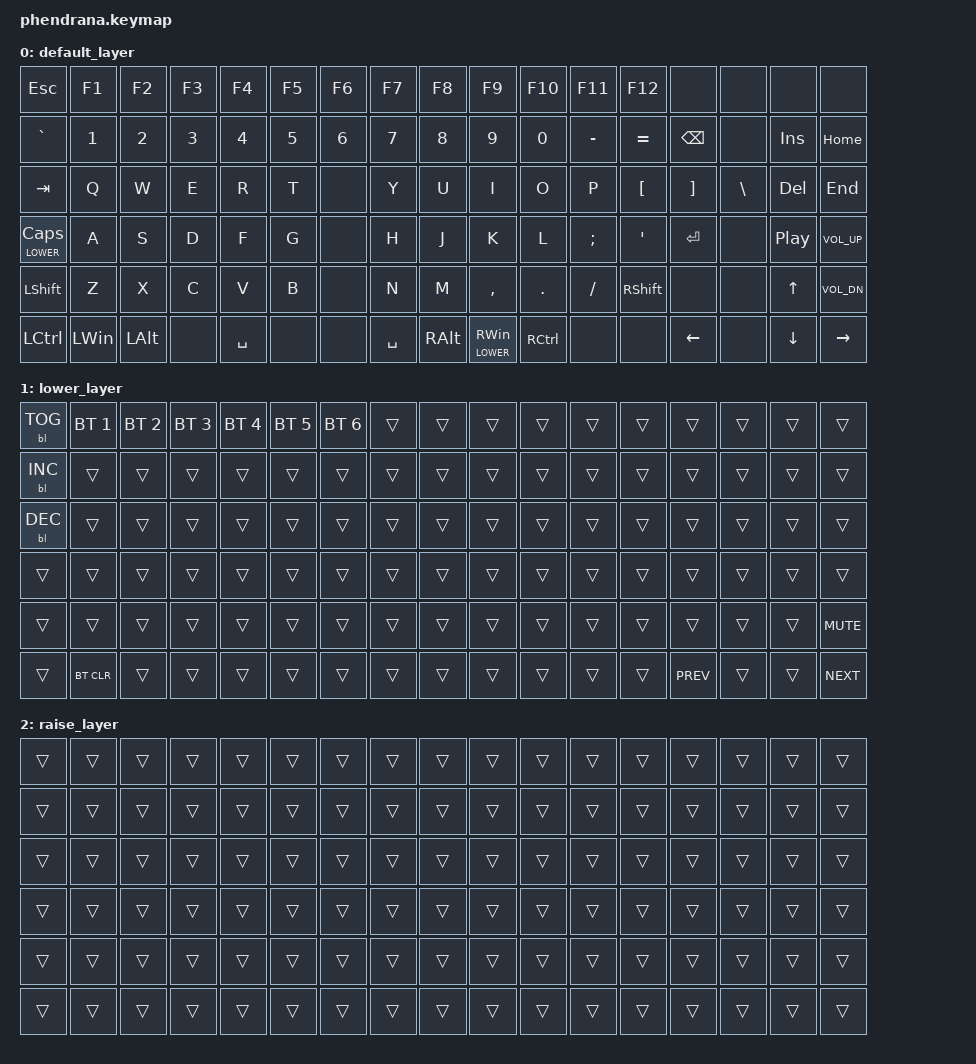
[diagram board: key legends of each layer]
#include <behaviors.dtsi>
#include <dt-bindings/zmk/keys.h>
#include <dt-bindings/zmk/bt.h>
#include <dt-bindings/zmk/outputs.h>
#include <dt-bindings/zmk/backlight.h>

#define DEFAULT 0
#define LOWER 1
#define RAISE 2

/ {
    combos{
        compatible = "zmk,combos";
        combo_reset {
            timeout-ms = <50>;
            key-positions = <0 51  85>;
            bindings = <&reset>;
        };
        combo_bootl {
            timeout-ms = <50>;
            key-positions = <0 52 85>;
            bindings = <&bootloader>;
        };
    };
    keymap {
        compatible = "zmk,keymap";

        default_layer {
            bindings = <
                &kp ESC        &kp F1       &kp F2       &kp F3       &kp F4       &kp F5       &kp F6           &kp F7       &kp F8       &kp F9         &kp F10      &kp F11      &kp F12      &none        &none        &none        &none
                &kp GRAVE      &kp N1       &kp N2       &kp N3       &kp N4       &kp N5       &kp N6           &kp N7       &kp N8       &kp N9         &kp N0       &kp MINUS    &kp EQUAL    &kp BSPC     &none        &kp INS      &kp HOME
                &kp TAB        &kp Q        &kp W        &kp E        &kp R        &kp T        &none            &kp Y        &kp U        &kp I          &kp O        &kp P        &kp LBKT     &kp RBKT     &kp BSLH     &kp DEL      &kp END    
                &lt LOWER CAPS &kp A        &kp S        &kp D        &kp F        &kp G        &none            &kp H        &kp J        &kp K          &kp L        &kp SEMI     &kp APOS     &kp RET      &none        &kp C_PP     &kp C_VOL_UP
                &kp LSHFT      &kp Z        &kp X        &kp C        &kp V        &kp B        &none            &kp N        &kp M        &kp COMMA      &kp DOT      &kp FSLH     &kp RSHFT    &none        &none        &kp UP       &kp C_VOL_DN
                &kp LCTRL      &kp LWIN     &kp LALT     &none        &kp SPACE    &none        &none            &kp SPACE    &kp RALT     &lt LOWER RWIN &kp RCTL     &none        &none        &kp LEFT     &none        &kp DOWN     &kp RIGHT

            >;
        };

        lower_layer {
            bindings = <
                &bl BL_TOG     &bt BT_SEL 1 &bt BT_SEL 2 &bt BT_SEL 3 &bt BT_SEL 4 &bt BT_SEL 5 &bt BT_SEL 6    &trans       &trans       &trans       &trans       &trans       &trans       &trans       &trans      &trans      &trans
                &bl BL_INC     &trans       &trans       &trans       &trans       &trans       &trans          &trans       &trans       &trans       &trans       &trans       &trans       &trans       &trans      &trans      &trans
                &bl BL_DEC     &trans       &trans       &trans       &trans       &trans       &trans          &trans       &trans       &trans       &trans       &trans       &trans       &trans       &trans      &trans      &trans
                &trans         &trans       &trans       &trans       &trans       &trans       &trans          &trans       &trans       &trans       &trans       &trans       &trans       &trans       &trans      &trans      &trans
                &trans         &trans       &trans       &trans       &trans       &trans       &trans          &trans       &trans       &trans       &trans       &trans       &trans       &trans       &trans      &trans      &kp C_MUTE
                &trans         &bt BT_CLR   &trans       &trans       &trans       &trans       &trans          &trans       &trans       &trans       &trans       &trans       &trans       &kp C_PREV   &trans      &trans      &kp C_NEXT

            >;
        };

        raise_layer {
            bindings = <
                &trans         &trans       &trans       &trans       &trans       &trans       &trans          &trans       &trans       &trans       &trans       &trans       &trans       &trans       &trans      &trans      &trans
                &trans         &trans       &trans       &trans       &trans       &trans       &trans          &trans       &trans       &trans       &trans       &trans       &trans       &trans       &trans      &trans      &trans
                &trans         &trans       &trans       &trans       &trans       &trans       &trans          &trans       &trans       &trans       &trans       &trans       &trans       &trans       &trans      &trans      &trans
                &trans         &trans       &trans       &trans       &trans       &trans       &trans          &trans       &trans       &trans       &trans       &trans       &trans       &trans       &trans      &trans      &trans
                &trans         &trans       &trans       &trans       &trans       &trans       &trans          &trans       &trans       &trans       &trans       &trans       &trans       &trans       &trans      &trans      &trans
                &trans         &trans       &trans       &trans       &trans       &trans       &trans          &trans       &trans       &trans       &trans       &trans       &trans       &trans       &trans      &trans      &trans

            >;
        };
    };
};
